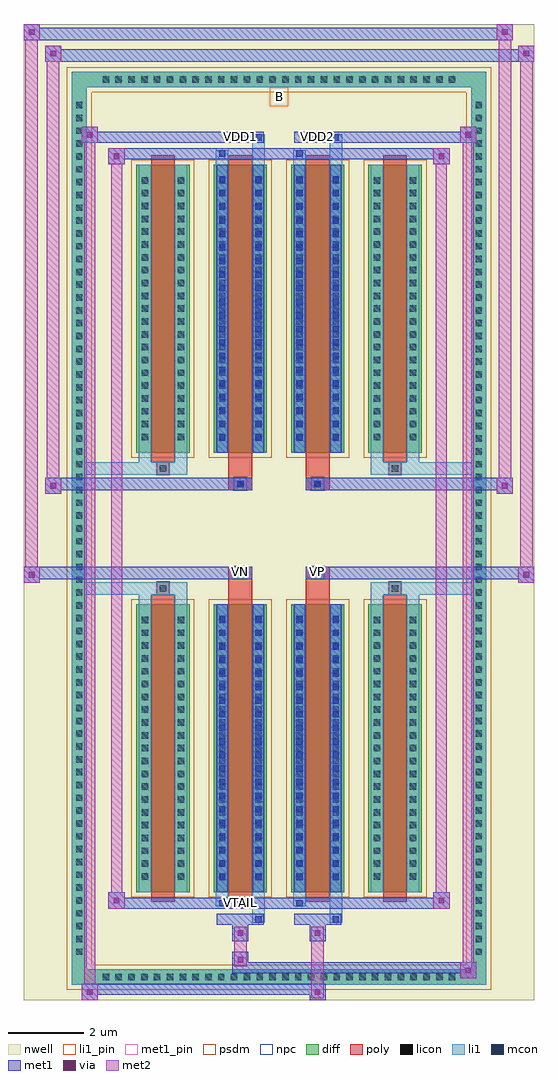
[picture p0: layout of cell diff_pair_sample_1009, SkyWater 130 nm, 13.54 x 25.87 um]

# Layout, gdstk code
import gdstk
lib = gdstk.Library(unit=1e-6, precision=5e-09)
def R(c, l, rs):  # rectangles x0, y0, x1, y1
    for r in rs: c.add(gdstk.rectangle(r[:2], r[2:], *l))
def A(c, l, x, y, w, h, nx, ny, dx, dy):  # array of equal rectangles
    R(c, l, [(x+i*dx, y+j*dy, x+i*dx+w, y+j*dy+h) for i in range(nx) for j in range(ny)])
def P(c, l, *ps):  # polygons
    for p in ps: c.add(gdstk.Polygon(p, *l))
nwell = (64, 20)
diff = (65, 20)
poly = (66, 20)
licon = (66, 44)
li1_pin = (67, 16)
li1 = (67, 20)
mcon = (67, 44)
met1_pin = (68, 16)
met1 = (68, 20)
via = (68, 44)
met2 = (69, 20)
psdm = (94, 20)
npc = (95, 20)

diff_pair_sample_1009 = lib.new_cell('diff_pair_sample_1009')
R(diff_pair_sample_1009, nwell, [(-6.77,-12.5,6.77,13.37), (-4.09,-10.69,-0.01,-0.815), (0.01,-10.69,4.09,-0.815), (-4.09,0.815,-0.01,10.69), (0.01,0.815,4.09,10.69)])
A(diff_pair_sample_1009, diff, -4.795, -12.1, 0.41, 0.41, 28, 2, 0.34, 23.79)
A(diff_pair_sample_1009, diff, -5.5, -11.425, 0.41, 0.41, 1, 67, 0, 0.34)
A(diff_pair_sample_1009, diff, 5.09, -11.425, 0.41, 0.41, 1, 67, 0, 0.34)
A(diff_pair_sample_1009, diff, -3.78, -9.645, 1.41, 7.64, 4, 2, 2.05, 11.65)
R(diff_pair_sample_1009, diff, [(-4.795,-12.1,4.795,-11.69), (-5.5,-11.425,-5.09,11.425), (5.09,-11.425,5.5,11.425), (-4.795,11.69,4.795,12.1)])
P(diff_pair_sample_1009, diff, [(5.5,12.1),(-5.5,12.1),(-5.5,-11.69),(-5.09,-11.69),(-5.09,11.69),(5.09,11.69),(5.09,-11.69),(-5.09,-11.69),(-5.5,-11.69),(-5.5,-12.1),(5.5,-12.1)])
A(diff_pair_sample_1009, poly, -3.39, -9.895, 0.63, 8.14, 4, 2, 2.05, 11.65)
R(diff_pair_sample_1009, poly, [(-3.24,-1.755,-2.91,-1.425), (-3.24,-1.755,-2.91,-1.425), (-1.34,-1.755,-0.71,-1.345), (0.71,-1.755,1.34,-1.345), (2.91,-1.755,3.24,-1.425), (2.91,-1.755,3.24,-1.425), (-1.34,-1.345,-0.71,-1.015), (-1.19,-1.345,-0.86,-1.015), (0.71,-1.345,1.34,-1.015), (0.86,-1.345,1.19,-1.015), (-1.34,1.015,-0.71,1.345), (-1.19,1.015,-0.86,1.345), (0.71,1.015,1.34,1.345), (0.86,1.015,1.19,1.345), (-1.34,1.345,-0.71,1.755), (0.71,1.345,1.34,1.755), (-3.24,1.425,-2.91,1.755), (-3.24,1.425,-2.91,1.755), (2.91,1.425,3.24,1.755), (2.91,1.425,3.24,1.755)])
A(diff_pair_sample_1009, licon, -4.675, -11.98, 0.17, 0.17, 28, 2, 0.34, 23.79)
A(diff_pair_sample_1009, licon, -5.38, -11.305, 0.17, 0.17, 1, 67, 0, 0.34)
A(diff_pair_sample_1009, licon, 5.21, -11.305, 0.17, 0.17, 1, 67, 0, 0.34)
A(diff_pair_sample_1009, licon, -3.64, -9.31, 0.17, 0.17, 1, 21, 0, 0.34)
A(diff_pair_sample_1009, licon, -2.68, -9.31, 0.17, 0.17, 1, 21, 0, 0.34)
A(diff_pair_sample_1009, licon, -1.59, -9.31, 0.17, 0.17, 1, 21, 0, 0.34)
A(diff_pair_sample_1009, licon, -0.63, -9.31, 0.17, 0.17, 1, 21, 0, 0.34)
A(diff_pair_sample_1009, licon, 0.46, -9.31, 0.17, 0.17, 1, 21, 0, 0.34)
A(diff_pair_sample_1009, licon, 1.42, -9.31, 0.17, 0.17, 1, 21, 0, 0.34)
A(diff_pair_sample_1009, licon, 2.51, -9.31, 0.17, 0.17, 1, 21, 0, 0.34)
A(diff_pair_sample_1009, licon, 3.47, -9.31, 0.17, 0.17, 1, 21, 0, 0.34)
A(diff_pair_sample_1009, licon, -3.64, 2.34, 0.17, 0.17, 1, 21, 0, 0.34)
A(diff_pair_sample_1009, licon, -2.68, 2.34, 0.17, 0.17, 1, 21, 0, 0.34)
A(diff_pair_sample_1009, licon, -1.59, 2.34, 0.17, 0.17, 1, 21, 0, 0.34)
A(diff_pair_sample_1009, licon, -0.63, 2.34, 0.17, 0.17, 1, 21, 0, 0.34)
A(diff_pair_sample_1009, licon, 0.46, 2.34, 0.17, 0.17, 1, 21, 0, 0.34)
A(diff_pair_sample_1009, licon, 1.42, 2.34, 0.17, 0.17, 1, 21, 0, 0.34)
A(diff_pair_sample_1009, licon, 2.51, 2.34, 0.17, 0.17, 1, 21, 0, 0.34)
A(diff_pair_sample_1009, licon, 3.47, 2.34, 0.17, 0.17, 1, 21, 0, 0.34)
R(diff_pair_sample_1009, licon, [(-3.16,-1.675,-2.99,-1.505), (2.99,-1.675,3.16,-1.505), (-1.11,-1.265,-0.94,-1.095), (0.94,-1.265,1.11,-1.095), (-1.11,1.095,-0.94,1.265), (0.94,1.095,1.11,1.265), (-3.16,1.505,-2.99,1.675), (2.99,1.505,3.16,1.675)])
R(diff_pair_sample_1009, li1_pin, [(-0.25,11.19,0.25,11.69)])
A(diff_pair_sample_1009, li1, -4.755, -12.06, 0.33, 0.33, 28, 2, 0.34, 23.79)
A(diff_pair_sample_1009, li1, -5.46, -11.385, 0.33, 0.33, 1, 67, 0, 0.34)
A(diff_pair_sample_1009, li1, 5.13, -11.385, 0.33, 0.33, 1, 67, 0, 0.34)
A(diff_pair_sample_1009, li1, -3.72, -9.39, 0.33, 0.33, 1, 21, 0, 0.34)
A(diff_pair_sample_1009, li1, -2.76, -9.39, 0.33, 0.33, 1, 21, 0, 0.34)
A(diff_pair_sample_1009, li1, -1.67, -9.39, 0.33, 0.33, 1, 21, 0, 0.34)
A(diff_pair_sample_1009, li1, -0.71, -9.39, 0.33, 0.33, 1, 21, 0, 0.34)
A(diff_pair_sample_1009, li1, 0.38, -9.39, 0.33, 0.33, 1, 21, 0, 0.34)
A(diff_pair_sample_1009, li1, 1.34, -9.39, 0.33, 0.33, 1, 21, 0, 0.34)
A(diff_pair_sample_1009, li1, 2.43, -9.39, 0.33, 0.33, 1, 21, 0, 0.34)
A(diff_pair_sample_1009, li1, 3.39, -9.39, 0.33, 0.33, 1, 21, 0, 0.34)
A(diff_pair_sample_1009, li1, -1.59, -9.33, 0.17, 0.17, 1, 20, 0, 0.36)
A(diff_pair_sample_1009, li1, -0.63, -9.33, 0.17, 0.17, 1, 20, 0, 0.36)
A(diff_pair_sample_1009, li1, 0.46, -9.33, 0.17, 0.17, 1, 20, 0, 0.36)
A(diff_pair_sample_1009, li1, 1.42, -9.33, 0.17, 0.17, 1, 20, 0, 0.36)
A(diff_pair_sample_1009, li1, -3.72, 2.26, 0.33, 0.33, 1, 21, 0, 0.34)
A(diff_pair_sample_1009, li1, -2.76, 2.26, 0.33, 0.33, 1, 21, 0, 0.34)
A(diff_pair_sample_1009, li1, -1.67, 2.26, 0.33, 0.33, 1, 21, 0, 0.34)
A(diff_pair_sample_1009, li1, -0.71, 2.26, 0.33, 0.33, 1, 21, 0, 0.34)
A(diff_pair_sample_1009, li1, 0.38, 2.26, 0.33, 0.33, 1, 21, 0, 0.34)
A(diff_pair_sample_1009, li1, 1.34, 2.26, 0.33, 0.33, 1, 21, 0, 0.34)
A(diff_pair_sample_1009, li1, 2.43, 2.26, 0.33, 0.33, 1, 21, 0, 0.34)
A(diff_pair_sample_1009, li1, 3.39, 2.26, 0.33, 0.33, 1, 21, 0, 0.34)
A(diff_pair_sample_1009, li1, -1.59, 2.32, 0.17, 0.17, 1, 20, 0, 0.36)
A(diff_pair_sample_1009, li1, -0.63, 2.32, 0.17, 0.17, 1, 20, 0, 0.36)
A(diff_pair_sample_1009, li1, 0.46, 2.32, 0.17, 0.17, 1, 20, 0, 0.36)
A(diff_pair_sample_1009, li1, 1.42, 2.32, 0.17, 0.17, 1, 20, 0, 0.36)
R(diff_pair_sample_1009, li1, [(-5.5,-12.1,-5.09,-11.69), (-5.5,-12.1,-5.09,-11.69), (-5.09,-12.1,5.09,-11.69), (5.09,-12.1,5.5,-11.69), (5.09,-12.1,5.5,-11.69), (-5.5,-11.69,-5.09,11.69), (5.09,-11.69,5.5,11.69), (-0.71,-10.45,-0.38,-9.645), (-0.63,-10.45,-0.46,-10.28), (1.34,-10.45,1.67,-9.645), (1.42,-10.45,1.59,-10.28), (-1.67,-10.02,-1.34,-9.645), (-1.59,-10.02,-1.42,-9.85), (0.38,-10.02,0.71,-9.645), (0.46,-10.02,0.63,-9.85), (-3.72,-9.645,-3.39,-2.005), (-2.76,-9.645,-2.43,-2.005), (-1.67,-9.645,-1.34,-2.005), (-0.71,-9.645,-0.38,-2.005), (0.38,-9.645,0.71,-2.005), (1.34,-9.645,1.67,-2.005), (2.43,-9.645,2.76,-2.005), (3.39,-9.645,3.72,-2.005), (-1.59,-9.33,-1.42,-2.32), (-0.63,-9.33,-0.46,-2.32), (0.46,-9.33,0.63,-2.32), (1.42,-9.33,1.59,-2.32), (-3.72,-2.005,-3.39,-1.425), (-2.76,-2.005,-2.43,-1.425), (2.43,-2.005,2.76,-1.425), (3.39,-2.005,3.72,-1.425), (-5.5,-1.755,-3.24,-1.425), (-3.72,-1.755,-3.24,-1.425), (-3.24,-1.755,-2.91,-1.425), (-2.91,-1.755,-2.43,-1.425), (2.43,-1.755,2.91,-1.425), (2.91,-1.755,3.24,-1.425), (2.91,-1.755,5.5,-1.425), (3.24,-1.755,3.72,-1.425), (-1.19,-1.345,-0.86,-1.015), (0.86,-1.345,1.19,-1.015), (-1.19,1.015,-0.86,1.345), (0.86,1.015,1.19,1.345), (-5.5,1.425,-3.24,1.755), (-3.72,1.425,-3.24,1.755), (-3.72,1.425,-3.39,2.005), (-3.24,1.425,-2.91,1.755), (-2.91,1.425,-2.43,1.755), (-2.76,1.425,-2.43,2.005), (2.43,1.425,2.91,1.755), (2.43,1.425,2.76,2.005), (2.91,1.425,3.24,1.755), (2.91,1.425,5.5,1.755), (3.24,1.425,3.72,1.755), (3.39,1.425,3.72,2.005), (-3.72,2.005,-3.39,9.645), (-2.76,2.005,-2.43,9.645), (-1.67,2.005,-1.34,9.645), (-0.71,2.005,-0.38,9.645), (0.38,2.005,0.71,9.645), (1.34,2.005,1.67,9.645), (2.43,2.005,2.76,9.645), (3.39,2.005,3.72,9.645), (-1.59,2.32,-1.42,9.33), (-0.63,2.32,-0.46,9.33), (0.46,2.32,0.63,9.33), (1.42,2.32,1.59,9.33), (-1.67,9.645,-1.34,10.02), (-0.71,9.645,-0.38,10.45), (0.38,9.645,0.71,10.02), (1.34,9.645,1.67,10.45), (-1.59,9.85,-1.42,10.02), (0.46,9.85,0.63,10.02), (-0.63,10.28,-0.46,10.45), (1.42,10.28,1.59,10.45), (-5.5,11.69,-5.09,12.1), (-5.5,11.69,-5.09,12.1), (-5.09,11.69,5.09,12.1), (5.09,11.69,5.5,12.1), (5.09,11.69,5.5,12.1)])
A(diff_pair_sample_1009, mcon, -1.59, -9.33, 0.17, 0.17, 1, 20, 0, 0.36)
A(diff_pair_sample_1009, mcon, -0.63, -9.33, 0.17, 0.17, 1, 20, 0, 0.36)
A(diff_pair_sample_1009, mcon, 0.46, -9.33, 0.17, 0.17, 1, 20, 0, 0.36)
A(diff_pair_sample_1009, mcon, 1.42, -9.33, 0.17, 0.17, 1, 20, 0, 0.36)
A(diff_pair_sample_1009, mcon, -1.59, 2.32, 0.17, 0.17, 1, 20, 0, 0.36)
A(diff_pair_sample_1009, mcon, -0.63, 2.32, 0.17, 0.17, 1, 20, 0, 0.36)
A(diff_pair_sample_1009, mcon, 0.46, 2.32, 0.17, 0.17, 1, 20, 0, 0.36)
A(diff_pair_sample_1009, mcon, 1.42, 2.32, 0.17, 0.17, 1, 20, 0, 0.36)
R(diff_pair_sample_1009, mcon, [(-0.63,-10.45,-0.46,-10.28), (1.42,-10.45,1.59,-10.28), (-1.59,-10.02,-1.42,-9.85), (0.46,-10.02,0.63,-9.85), (-1.11,-1.265,-0.94,-1.095), (0.94,-1.265,1.11,-1.095), (-1.11,1.095,-0.94,1.265), (0.94,1.095,1.11,1.265), (-1.59,9.85,-1.42,10.02), (0.46,9.85,0.63,10.02), (-0.63,10.28,-0.46,10.45), (1.42,10.28,1.59,10.45)])
R(diff_pair_sample_1009, met1_pin, [(-1.16,-10.06,-0.89,-9.79), (-1.16,-1.285,-0.89,-1.015), (0.89,-1.285,1.16,-1.015), (-1.16,10.24,-0.89,10.51), (0.89,10.24,1.16,10.51)])
A(diff_pair_sample_1009, met1, -1.65, -9.39, 0.29, 0.29, 1, 20, 0, 0.36)
A(diff_pair_sample_1009, met1, -0.69, -9.39, 0.29, 0.29, 1, 20, 0, 0.36)
A(diff_pair_sample_1009, met1, 0.4, -9.39, 0.29, 0.29, 1, 20, 0, 0.36)
A(diff_pair_sample_1009, met1, 1.36, -9.39, 0.29, 0.29, 1, 20, 0, 0.36)
A(diff_pair_sample_1009, met1, -1.65, 2.26, 0.29, 0.29, 1, 20, 0, 0.36)
A(diff_pair_sample_1009, met1, -0.69, 2.26, 0.29, 0.29, 1, 20, 0, 0.36)
A(diff_pair_sample_1009, met1, 0.4, 2.26, 0.29, 0.29, 1, 20, 0, 0.36)
A(diff_pair_sample_1009, met1, 1.36, 2.26, 0.29, 0.29, 1, 20, 0, 0.36)
R(diff_pair_sample_1009, met1, [(-5.23,-12.5,-4.8,-12.07), (0.81,-12.5,1.24,-12.07), (-5.23,-12.36,1.24,-12.07), (4.8,-11.93,5.23,-11.5), (-1.24,-11.79,5.23,-11.5), (-1.24,-11.65,-0.81,-11.22), (-1.24,-10.94,-0.81,-10.51), (0.81,-10.94,1.24,-10.51), (-1.65,-10.51,-0.4,-10.22), (-0.69,-10.51,-0.4,-10.22), (0.4,-10.51,1.65,-10.22), (1.36,-10.51,1.65,-10.22), (-4.52,-10.08,-4.09,-9.65), (-4.52,-10.08,-1.65,-9.79), (-1.65,-10.08,-1.36,-9.79), (-1.65,-10.08,-0.4,-9.79), (-0.4,-10.08,0.4,-9.79), (0.4,-10.08,0.69,-9.79), (0.4,-10.08,1.65,-9.79), (1.65,-10.08,4.52,-9.79), (4.09,-10.08,4.52,-9.65), (-1.65,-9.645,-1.36,-2.005), (-0.69,-9.645,-0.4,-2.005), (0.4,-9.645,0.69,-2.005), (1.36,-9.645,1.65,-2.005), (-6.77,-1.445,-6.34,-1.015), (6.34,-1.445,6.77,-1.015), (-6.77,-1.345,-0.71,-1.015), (-1.34,-1.345,-0.71,-1.015), (0.71,-1.345,1.34,-1.015), (0.71,-1.345,6.77,-1.015), (-1.17,-1.325,-0.88,-1.035), (0.88,-1.325,1.17,-1.035), (-6.2,0.915,-5.77,1.345), (5.77,0.915,6.2,1.345), (-6.2,1.015,-1.34,1.345), (-1.34,1.015,-0.71,1.345), (0.71,1.015,1.34,1.345), (1.34,1.015,6.2,1.345), (-1.17,1.035,-0.88,1.325), (0.88,1.035,1.17,1.325), (-1.65,2.005,-1.36,9.645), (-0.69,2.005,-0.4,9.645), (0.4,2.005,0.69,9.645), (1.36,2.005,1.65,9.645), (-4.52,9.65,-4.09,10.08), (4.09,9.65,4.52,10.08), (-4.52,9.79,-1.65,10.08), (-1.65,9.79,-1.36,10.08), (-1.65,9.79,-0.4,10.08), (-0.4,9.79,0.4,10.08), (0.4,9.79,0.69,10.08), (0.4,9.79,1.65,10.08), (1.65,9.79,4.52,10.08), (-5.23,10.22,-4.8,10.65), (-5.23,10.22,-1.65,10.51), (-1.65,10.22,-0.4,10.51), (-0.69,10.22,-0.4,10.51), (0.4,10.22,1.65,10.51), (1.36,10.22,1.65,10.51), (1.65,10.22,5.23,10.51), (4.8,10.22,5.23,10.65), (-6.2,12.37,-5.77,12.8), (-6.2,12.37,-4.09,12.7), (-4.09,12.37,4.09,12.7), (4.09,12.37,6.77,12.7), (6.34,12.37,6.77,12.8), (-6.77,12.94,-6.34,13.37), (-6.77,12.94,-4.09,13.27), (-4.09,12.94,4.09,13.27), (4.09,12.94,6.2,13.27), (5.77,12.94,6.2,13.37)])
R(diff_pair_sample_1009, via, [(-5.09,-12.36,-4.94,-12.21), (0.95,-12.36,1.1,-12.21), (4.94,-11.79,5.09,-11.64), (-1.1,-11.51,-0.95,-11.36), (-1.1,-10.8,-0.95,-10.65), (0.95,-10.8,1.1,-10.65), (-4.38,-9.94,-4.23,-9.79), (4.23,-9.94,4.38,-9.79), (-6.63,-1.305,-6.48,-1.155), (6.48,-1.305,6.63,-1.155), (-6.06,1.055,-5.91,1.205), (5.91,1.055,6.06,1.205), (-4.38,9.79,-4.23,9.94), (4.23,9.79,4.38,9.94), (-5.09,10.36,-4.94,10.51), (4.94,10.36,5.09,10.51), (-6.06,12.51,-5.91,12.66), (6.48,12.51,6.63,12.66), (-6.63,13.08,-6.48,13.23), (5.91,13.08,6.06,13.23)])
R(diff_pair_sample_1009, met2, [(-5.23,-12.5,-4.8,-12.07), (-5.16,-12.5,-4.87,10.65), (-4.87,-12.5,-4.8,-12.07), (-5.18,-12.45,-4.85,-12.12), (0.86,-12.45,1.19,-12.12), (0.86,-12.12,1.19,-10.89), (4.8,-11.93,5.23,-11.5), (4.87,-11.93,5.16,10.65), (5.16,-11.93,5.23,-11.5), (4.85,-11.88,5.18,-11.55), (-1.19,-11.6,-0.86,-11.27), (-1.19,-11.27,-0.86,-10.89), (-1.19,-10.89,-0.86,-10.56), (0.86,-10.89,1.19,-10.56), (-4.52,-10.08,-4.09,-9.65), (-4.45,-10.08,-4.16,10.08), (-4.16,-10.08,-4.09,-9.65), (4.09,-10.08,4.52,-9.65), (4.16,-10.08,4.45,10.08), (4.45,-10.08,4.52,-9.65), (-4.47,-10.03,-4.14,-9.7), (4.14,-10.03,4.47,-9.7), (-6.77,-1.445,-6.34,-1.015), (-6.72,-1.445,-6.39,13.37), (-6.39,-1.445,-6.34,-1.015), (6.34,-1.445,6.77,-1.015), (6.39,-1.445,6.72,12.8), (6.72,-1.445,6.77,-1.015), (-6.72,-1.395,-6.39,-1.065), (6.39,-1.395,6.72,-1.065), (-6.2,0.915,-5.77,1.345), (-6.15,0.915,-5.82,12.8), (-5.82,0.915,-5.77,1.345), (5.77,0.915,6.2,1.345), (5.82,0.915,6.15,13.37), (6.15,0.915,6.2,1.345), (-6.15,0.965,-5.82,1.295), (5.82,0.965,6.15,1.295), (-4.52,9.65,-4.09,10.08), (-4.16,9.65,-4.09,10.08), (4.09,9.65,4.52,10.08), (4.45,9.65,4.52,10.08), (-4.47,9.7,-4.14,10.03), (4.14,9.7,4.47,10.03), (-5.23,10.22,-4.8,10.65), (-4.87,10.22,-4.8,10.65), (4.8,10.22,5.23,10.65), (5.16,10.22,5.23,10.65), (-5.18,10.27,-4.85,10.6), (4.85,10.27,5.18,10.6), (-6.2,12.37,-5.77,12.8), (-5.82,12.37,-5.77,12.8), (6.34,12.37,6.77,12.8), (6.72,12.37,6.77,12.8), (-6.15,12.42,-5.82,12.75), (6.39,12.42,6.72,12.75), (-6.77,12.94,-6.34,13.37), (-6.39,12.94,-6.34,13.37), (5.77,12.94,6.2,13.37), (6.15,12.94,6.2,13.37), (-6.72,12.99,-6.39,13.32), (5.82,12.99,6.15,13.32)])
A(diff_pair_sample_1009, psdm, -3.91, -9.775, 1.67, 7.9, 4, 2, 2.05, 11.65)
P(diff_pair_sample_1009, psdm, [(5.63,12.23),(-5.63,12.23),(-5.63,-11.56),(-4.96,-11.56),(-4.96,11.56),(4.96,11.56),(4.96,-11.56),(-4.96,-11.56),(-5.63,-11.56),(-5.63,-12.23),(5.63,-12.23)])
R(diff_pair_sample_1009, npc, [(-3.26,-1.775,-2.89,-1.405), (2.89,-1.775,3.26,-1.405), (-1.21,-1.365,-0.84,-0.995), (0.84,-1.365,1.21,-0.995), (-1.21,0.995,-0.84,1.365), (0.84,0.995,1.21,1.365), (-3.26,1.405,-2.89,1.775), (2.89,1.405,3.26,1.775)])
diff_pair_sample_1009.add(gdstk.Label('VTAIL', (-1.025,-9.925), layer=68, texttype=5))
diff_pair_sample_1009.add(gdstk.Label('VN', (-1.025,-1.15), layer=68, texttype=5))
diff_pair_sample_1009.add(gdstk.Label('VP', (1.025,-1.15), layer=68, texttype=5))
diff_pair_sample_1009.add(gdstk.Label('B', (0,11.44), layer=67, texttype=5))
diff_pair_sample_1009.add(gdstk.Label('VDD2', (1.025,10.375), layer=68, texttype=5))
diff_pair_sample_1009.add(gdstk.Label('VDD1', (-1.025,10.375), layer=68, texttype=5))

lib.write_gds('diff_pair_sample_1009.gds')
